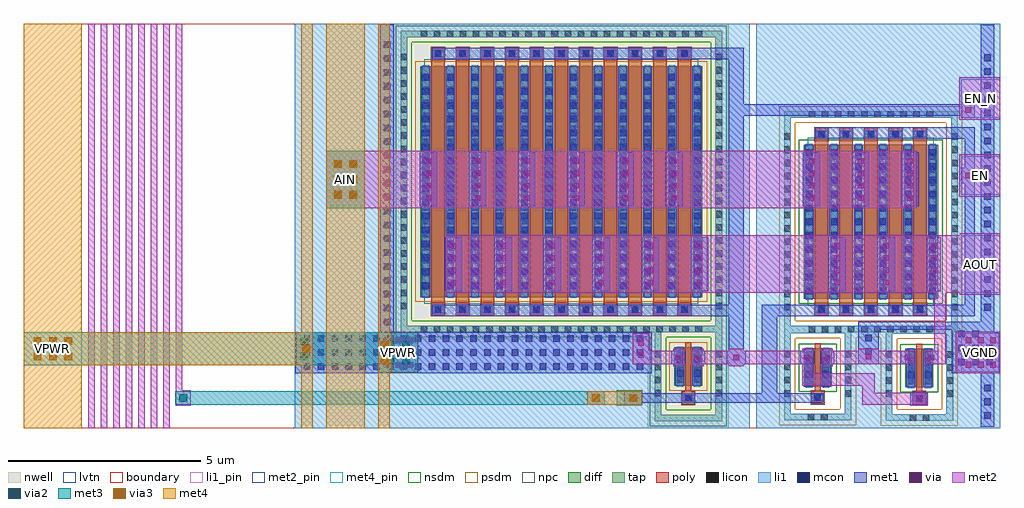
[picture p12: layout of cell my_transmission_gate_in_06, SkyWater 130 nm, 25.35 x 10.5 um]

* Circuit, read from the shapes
.subckt my_transmission_gate_in_06 AIN AOUT EN EN_N VGND VPWR
XM1 VGND EN EN_N VGND sky130_fd_pr__nfet_01v8 w=1 l=0.15
XM2 AOUT EN AIN VGND sky130_fd_pr__nfet_01v8_lvt w=4 l=0.35 m=5
XM3 AOUT EN_N VGND VGND sky130_fd_pr__nfet_01v8 w=1 l=0.15
XM4 AOUT EN_N AIN VPWR sky130_fd_pr__pfet_01v8_lvt w=6 l=0.35 m=11
XM5 EN_N EN VPWR VPWR sky130_fd_pr__pfet_01v8 w=1 l=0.15
.ends

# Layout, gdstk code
import gdstk
lib = gdstk.Library(unit=1e-6, precision=1e-09)
def R(c, l, rs):  # rectangles x0, y0, x1, y1
    for r in rs: c.add(gdstk.rectangle(r[:2], r[2:], *l))
def A(c, l, x, y, w, h, nx, ny, dx, dy):  # array of equal rectangles
    R(c, l, [(x+i*dx, y+j*dy, x+i*dx+w, y+j*dy+h) for i in range(nx) for j in range(ny)])
nwell = (64, 20)
diff = (65, 20)
tap = (65, 44)
poly = (66, 20)
licon = (66, 44)
li1_pin = (67, 16)
li1 = (67, 20)
mcon = (67, 44)
met1 = (68, 20)
via = (68, 44)
met2_pin = (69, 16)
met2 = (69, 20)
via2 = (69, 44)
met3 = (70, 20)
via3 = (70, 44)
met4_pin = (71, 16)
met4 = (71, 20)
nsdm = (93, 44)
psdm = (94, 20)
npc = (95, 20)
lvtn = (125, 44)
boundary = (235, 4)

sky130_fd_pr__pfet_01v8_ = lib.new_cell('sky130_fd_pr__pfet_01v8_lvt_E3P74E#06tgi')
R(sky130_fd_pr__pfet_01v8_, nwell, [(-4.355,-4.095,4.355,4.095)])
R(sky130_fd_pr__pfet_01v8_, diff, [(-3.665,-3,3.665,3)])
R(sky130_fd_pr__pfet_01v8_, tap, [(-4.175,-3.915,4.175,-3.745), (-4.175,-3.745,-4.005,3.745), (4.005,-3.745,4.175,3.745), (-4.175,3.745,4.175,3.915)])
A(sky130_fd_pr__pfet_01v8_, poly, -3.375, -3.485, 0.35, 6.97, 11, 1, 0.64, 0)
A(sky130_fd_pr__pfet_01v8_, licon, -3.655, -3.915, 0.17, 0.17, 22, 2, 0.34, 7.66)
A(sky130_fd_pr__pfet_01v8_, licon, -3.285, -3.405, 0.17, 0.17, 11, 2, 0.64, 6.64)
A(sky130_fd_pr__pfet_01v8_, licon, -4.175, -3.315, 0.17, 0.17, 1, 20, 0, 0.34)
A(sky130_fd_pr__pfet_01v8_, licon, 4.005, -3.315, 0.17, 0.17, 1, 20, 0, 0.34)
A(sky130_fd_pr__pfet_01v8_, licon, -3.605, -2.805, 0.17, 0.17, 12, 17, 0.64, 0.34)
A(sky130_fd_pr__pfet_01v8_, li1, -3.375, -3.405, 0.35, 0.17, 11, 2, 0.64, 6.64)
A(sky130_fd_pr__pfet_01v8_, li1, -3.605, -3.02, 0.17, 6.04, 12, 1, 0.64, 0)
R(sky130_fd_pr__pfet_01v8_, li1, [(-4.175,-3.915,4.175,-3.745), (-4.175,-3.745,-4.005,3.745), (4.005,-3.745,4.175,3.745), (-4.175,3.745,4.175,3.915)])
A(sky130_fd_pr__pfet_01v8_, mcon, -3.285, -3.405, 0.17, 0.17, 11, 2, 0.64, 6.64)
A(sky130_fd_pr__pfet_01v8_, mcon, -3.605, -2.785, 0.17, 0.17, 12, 16, 0.64, 0.36)
A(sky130_fd_pr__pfet_01v8_, met1, -3.355, -3.435, 0.31, 0.23, 11, 2, 0.64, 6.64)
A(sky130_fd_pr__pfet_01v8_, met1, -3.635, -3, 0.23, 6, 12, 1, 0.64, 0)
R(sky130_fd_pr__pfet_01v8_, nsdm, [(-4.3,-4.04,4.3,-3.62), (-4.3,-3.62,-3.88,3.62), (3.88,-3.62,4.3,3.62), (-4.3,3.62,4.3,4.04)])
R(sky130_fd_pr__pfet_01v8_, psdm, [(-3.79,-3.125,3.79,3.125)])
A(sky130_fd_pr__pfet_01v8_, npc, -3.385, -3.505, 0.37, 0.37, 11, 2, 0.64, 6.64)
R(sky130_fd_pr__pfet_01v8_, lvtn, [(-3.555,-3.18,3.555,3.18)])
R(sky130_fd_pr__pfet_01v8_, boundary, [(-4.09,-3.83,4.09,3.83)])

c_sky130_fd_pr__pfet_01v8_ = lib.new_cell('sky130_fd_pr__pfet_01v8_L75DJ9#06tgi')
R(c_sky130_fd_pr__pfet_01v8_, nwell, [(-1.055,-1.42,1.055,1.42)])
R(c_sky130_fd_pr__pfet_01v8_, diff, [(-0.365,-0.32,0.365,0.68)])
R(c_sky130_fd_pr__pfet_01v8_, tap, [(-0.875,-1.24,0.875,-1.07), (-0.875,-1.07,-0.705,1.07), (0.705,-1.07,0.875,1.07), (-0.875,1.07,0.875,1.24)])
R(c_sky130_fd_pr__pfet_01v8_, poly, [(-0.165,-0.805,0.165,-0.475), (-0.075,-0.475,0.075,0.81)])
A(c_sky130_fd_pr__pfet_01v8_, licon, -0.875, -0.595, 0.17, 0.17, 1, 4, 0, 0.34)
A(c_sky130_fd_pr__pfet_01v8_, licon, 0.705, -0.595, 0.17, 0.17, 1, 4, 0, 0.34)
A(c_sky130_fd_pr__pfet_01v8_, licon, -0.305, -0.245, 0.17, 0.17, 1, 3, 0, 0.34)
A(c_sky130_fd_pr__pfet_01v8_, licon, 0.135, -0.245, 0.17, 0.17, 1, 3, 0, 0.34)
R(c_sky130_fd_pr__pfet_01v8_, licon, [(-0.085,-0.725,0.085,-0.555)])
R(c_sky130_fd_pr__pfet_01v8_, li1, [(-0.875,-1.24,0.875,-1.07), (-0.875,-1.07,-0.705,1.07), (0.705,-1.07,0.875,1.07), (-0.165,-0.725,0.165,-0.555), (-0.305,-0.34,-0.135,0.7), (0.135,-0.34,0.305,0.7), (-0.875,1.07,0.875,1.24)])
R(c_sky130_fd_pr__pfet_01v8_, mcon, [(-0.085,-0.725,0.085,-0.555), (-0.305,-0.085,-0.135,0.085), (0.135,-0.085,0.305,0.085), (-0.305,0.275,-0.135,0.445), (0.135,0.275,0.305,0.445)])
R(c_sky130_fd_pr__pfet_01v8_, met1, [(-0.145,-0.755,0.145,-0.525), (-0.335,-0.32,-0.105,0.68), (0.105,-0.32,0.335,0.68)])
R(c_sky130_fd_pr__pfet_01v8_, nsdm, [(-1,-1.365,1,-0.945), (-1,-0.945,-0.58,0.945), (0.58,-0.945,1,0.945), (-1,0.945,1,1.365)])
R(c_sky130_fd_pr__pfet_01v8_, psdm, [(-0.49,-0.445,0.49,0.805)])
R(c_sky130_fd_pr__pfet_01v8_, npc, [(-0.185,-0.825,0.185,-0.455)])
R(c_sky130_fd_pr__pfet_01v8_, boundary, [(-0.79,-1.155,0.79,1.155)])

sky130_fd_pr__nfet_01v8_ = lib.new_cell('sky130_fd_pr__nfet_01v8_lvt_X62NDW#06tgi')
R(sky130_fd_pr__nfet_01v8_, diff, [(-1.745,-2,1.745,2)])
R(sky130_fd_pr__nfet_01v8_, tap, [(-2.255,-2.87,2.255,-2.7), (-2.255,-2.7,-2.085,2.7), (2.085,-2.7,2.255,2.7), (-2.255,2.7,2.255,2.87)])
A(sky130_fd_pr__nfet_01v8_, poly, -1.455, -2.44, 0.35, 4.88, 5, 1, 0.64, 0)
A(sky130_fd_pr__nfet_01v8_, licon, -1.615, -2.87, 0.17, 0.17, 10, 2, 0.34, 5.57)
A(sky130_fd_pr__nfet_01v8_, licon, -1.365, -2.36, 0.17, 0.17, 5, 2, 0.64, 4.55)
A(sky130_fd_pr__nfet_01v8_, licon, -2.255, -2.295, 0.17, 0.17, 1, 14, 0, 0.34)
A(sky130_fd_pr__nfet_01v8_, licon, 2.085, -2.295, 0.17, 0.17, 1, 14, 0, 0.34)
A(sky130_fd_pr__nfet_01v8_, licon, -1.685, -1.785, 0.17, 0.17, 6, 11, 0.64, 0.34)
A(sky130_fd_pr__nfet_01v8_, li1, -1.455, -2.36, 0.35, 0.17, 5, 2, 0.64, 4.55)
A(sky130_fd_pr__nfet_01v8_, li1, -1.685, -2.02, 0.17, 4.04, 6, 1, 0.64, 0)
R(sky130_fd_pr__nfet_01v8_, li1, [(-2.255,-2.87,2.255,-2.7), (-2.255,-2.7,-2.085,2.7), (2.085,-2.7,2.255,2.7), (-2.255,2.7,2.255,2.87)])
A(sky130_fd_pr__nfet_01v8_, mcon, -1.365, -2.36, 0.17, 0.17, 5, 2, 0.64, 4.55)
A(sky130_fd_pr__nfet_01v8_, mcon, -1.685, -1.885, 0.17, 0.17, 6, 11, 0.64, 0.36)
A(sky130_fd_pr__nfet_01v8_, met1, -1.435, -2.39, 0.31, 0.23, 5, 2, 0.64, 4.55)
A(sky130_fd_pr__nfet_01v8_, met1, -1.715, -2, 0.23, 4, 6, 1, 0.64, 0)
R(sky130_fd_pr__nfet_01v8_, nsdm, [(-1.87,-2.125,1.87,2.125)])
R(sky130_fd_pr__nfet_01v8_, psdm, [(-2.38,-2.995,2.38,-2.575), (-2.38,-2.575,-1.96,2.575), (1.96,-2.575,2.38,2.575), (-2.38,2.575,2.38,2.995)])
A(sky130_fd_pr__nfet_01v8_, npc, -1.465, -2.46, 0.37, 0.37, 5, 2, 0.64, 4.55)
R(sky130_fd_pr__nfet_01v8_, lvtn, [(-1.635,-2.18,1.635,2.18)])
R(sky130_fd_pr__nfet_01v8_, boundary, [(-2.17,-2.785,2.17,2.785)])

c_sky130_fd_pr__nfet_01v8_ = lib.new_cell('sky130_fd_pr__nfet_01v8_9BJ5NV#06tgi')
R(c_sky130_fd_pr__nfet_01v8_, diff, [(-0.365,-0.345,0.365,0.655)])
R(c_sky130_fd_pr__nfet_01v8_, tap, [(-0.875,-1.215,0.875,-1.045), (-0.875,-1.045,-0.705,1.045), (0.705,-1.045,0.875,1.045), (-0.875,1.045,0.875,1.215)])
R(c_sky130_fd_pr__nfet_01v8_, poly, [(-0.165,-0.785,0.165,-0.455), (-0.075,-0.455,0.075,0.785)])
A(c_sky130_fd_pr__nfet_01v8_, licon, -0.875, -0.595, 0.17, 0.17, 1, 4, 0, 0.34)
A(c_sky130_fd_pr__nfet_01v8_, licon, 0.705, -0.595, 0.17, 0.17, 1, 4, 0, 0.34)
A(c_sky130_fd_pr__nfet_01v8_, licon, -0.305, -0.27, 0.17, 0.17, 1, 3, 0, 0.34)
A(c_sky130_fd_pr__nfet_01v8_, licon, 0.135, -0.27, 0.17, 0.17, 1, 3, 0, 0.34)
R(c_sky130_fd_pr__nfet_01v8_, licon, [(-0.255,-1.215,-0.085,-1.045), (0.085,-1.215,0.255,-1.045), (-0.085,-0.705,0.085,-0.535)])
R(c_sky130_fd_pr__nfet_01v8_, li1, [(-0.875,-1.215,0.875,-1.045), (-0.875,-1.045,-0.705,1.045), (0.705,-1.045,0.875,1.045), (-0.165,-0.705,0.165,-0.535), (-0.305,-0.365,-0.135,0.675), (0.135,-0.365,0.305,0.675), (-0.875,1.045,0.875,1.215)])
R(c_sky130_fd_pr__nfet_01v8_, mcon, [(-0.085,-0.705,0.085,-0.535), (-0.305,-0.11,-0.135,0.06), (0.135,-0.11,0.305,0.06), (-0.305,0.25,-0.135,0.42), (0.135,0.25,0.305,0.42)])
R(c_sky130_fd_pr__nfet_01v8_, met1, [(-0.145,-0.735,0.145,-0.505), (-0.335,-0.345,-0.105,0.655), (0.105,-0.345,0.335,0.655)])
R(c_sky130_fd_pr__nfet_01v8_, nsdm, [(-0.49,-0.47,0.49,0.78)])
R(c_sky130_fd_pr__nfet_01v8_, psdm, [(-1,-1.34,1,-0.92), (-1,-0.92,-0.58,0.92), (0.58,-0.92,1,0.92), (-1,0.92,1,1.34)])
R(c_sky130_fd_pr__nfet_01v8_, npc, [(-0.185,-0.805,0.185,-0.435)])
R(c_sky130_fd_pr__nfet_01v8_, boundary, [(-0.79,-1.13,0.79,1.13)])

my_transmission_gate_in_ = lib.new_cell('my_transmission_gate_in_06')
R(my_transmission_gate_in_, li1_pin, [(9.225,1.46,10.225,2.46)])
R(my_transmission_gate_in_, li1, [(7.035,0,18.85,0.34), (19.025,0,25.35,0.26), (19.025,0.26,22.45,0.365), (24.09,0.26,25.35,8.06), (7.035,0.34,16.55,2.66), (17.975,0.34,18.85,10.165), (19.025,0.365,19.9,8.06), (21.325,0.365,22.45,2.665), (7.035,2.66,9.95,10.165), (10.6,2.66,16.55,2.665), (19.025,8.06,25.35,10.5), (7.035,10.165,18.85,10.5)])
A(my_transmission_gate_in_, mcon, 24.94, 0.24, 0.17, 0.17, 1, 3, 0, 0.36)
A(my_transmission_gate_in_, mcon, 7.27, 1.52, 0.17, 0.17, 25, 3, 0.36, 0.36)
A(my_transmission_gate_in_, mcon, 24.27, 1.635, 0.17, 0.17, 3, 2, 0.36, 0.36)
A(my_transmission_gate_in_, mcon, 9.34, 2.675, 0.17, 0.17, 1, 21, 0, 0.36)
A(my_transmission_gate_in_, mcon, 24.94, 3.055, 0.17, 0.17, 1, 19, 0, 0.36)
R(my_transmission_gate_in_, mcon, [(21.85,1.9,22.02,2.07), (21.85,2.26,22.02,2.43), (24.27,2.355,24.44,2.525), (24.63,2.355,24.8,2.525)])
A(my_transmission_gate_in_, met1, 20.28, 3.39, 0.23, 2.37, 3, 1, 1.28, 0)
A(my_transmission_gate_in_, met1, 20.92, 3.39, 0.23, 0.17, 3, 1, 1.28, 0)
A(my_transmission_gate_in_, met1, 10.32, 3.43, 0.23, 2.33, 6, 1, 1.28, 0)
A(my_transmission_gate_in_, met1, 10.96, 3.43, 0.23, 0.13, 6, 1, 1.28, 0)
A(my_transmission_gate_in_, met1, 12.215, 3.56, 0.46, 1.4, 5, 1, 1.275, 0)
A(my_transmission_gate_in_, met1, 10.96, 4.96, 0.23, 4.42, 6, 1, 1.28, 0)
A(my_transmission_gate_in_, met1, 20.92, 4.96, 0.23, 2.37, 3, 1, 1.28, 0)
A(my_transmission_gate_in_, met1, 10.275, 5.76, 0.46, 1.4, 6, 1, 1.275, 0)
A(my_transmission_gate_in_, met1, 20.225, 5.76, 0.46, 1.4, 3, 1, 1.275, 0)
A(my_transmission_gate_in_, met1, 10.32, 7.16, 0.23, 2.22, 6, 1, 1.28, 0)
A(my_transmission_gate_in_, met1, 20.28, 7.16, 0.23, 0.17, 3, 1, 1.28, 0)
R(my_transmission_gate_in_, met1, [(24.85,0.04,25.2,1.43), (23.025,0.595,23.475,0.915), (15.6,0.61,16.05,0.66), (15.6,0.66,20.735,0.91), (15.6,0.91,16.05,0.96), (19.16,0.91,19.56,2.91), (20.28,1.09,20.51,1.66), (20.72,1.09,20.95,1.66), (22.92,1.09,23.15,1.66), (23.36,1.09,23.59,1.66), (16.92,1.13,17.15,1.66), (17.36,1.13,17.59,1.66), (7.05,1.43,16.3,2.495), (24.1,1.43,25.335,2.495), (18.3,1.61,18.7,1.66), (16.815,1.66,17.175,2.01), (17.34,1.66,17.7,2.01), (18.25,1.66,18.75,2.01), (20.165,1.66,20.525,2.01), (20.69,1.66,21.05,2.01), (21.67,1.66,22.2,2.56), (22.775,1.66,23.15,2.01), (23.36,1.66,23.74,2.01), (16.92,2.01,17.15,2.07), (17.36,2.01,17.59,2.07), (18.3,2.01,18.7,2.91), (20.28,2.01,20.51,2.03), (20.72,2.01,20.95,2.03), (22.92,2.01,23.15,2.03), (23.36,2.01,23.59,2.03), (9.25,2.495,9.6,10.485), (24.1,2.495,25.2,2.56), (21.67,2.56,25.2,2.76), (24.85,2.76,25.2,10.48), (10.6,2.91,18.7,3.21), (19.16,2.91,24.7,3.21), (18.3,3.21,18.7,8.11), (24.43,3.21,24.7,6.36), (10.925,3.56,11.385,4.96), (20.89,3.56,21.35,4.96), (22.165,3.56,22.625,4.96), (23.45,3.56,23.81,4.96), (24.35,6.36,24.7,6.76), (24.43,6.76,24.7,7.51), (20.55,7.51,24.7,7.81), (24.35,8.06,24.7,8.11), (18.3,8.11,24.7,8.41), (18.3,8.41,18.7,9.585), (24.35,8.41,24.7,8.46), (10.6,9.585,18.7,9.885)])
A(my_transmission_gate_in_, via, 9.325, 1.565, 0.15, 0.15, 3, 3, 0.32, 0.32)
A(my_transmission_gate_in_, via, 24.455, 1.57, 0.15, 0.15, 3, 3, 0.32, 0.32)
A(my_transmission_gate_in_, via, 11.08, 3.705, 0.15, 0.15, 1, 4, 0, 0.32)
A(my_transmission_gate_in_, via, 12.37, 3.705, 0.15, 0.15, 5, 4, 1.275, 0.32)
A(my_transmission_gate_in_, via, 21.045, 3.705, 0.15, 0.15, 1, 4, 0, 0.32)
A(my_transmission_gate_in_, via, 22.32, 3.705, 0.15, 0.15, 1, 4, 0, 0.32)
A(my_transmission_gate_in_, via, 23.555, 3.705, 0.15, 0.15, 1, 4, 0, 0.32)
A(my_transmission_gate_in_, via, 10.43, 5.905, 0.15, 0.15, 6, 4, 1.275, 0.32)
A(my_transmission_gate_in_, via, 20.38, 5.905, 0.15, 0.15, 3, 4, 1.275, 0.32)
R(my_transmission_gate_in_, via, [(23.175,0.67,23.325,0.82), (15.75,0.71,15.9,0.86), (16.92,1.76,17.07,1.91), (17.445,1.76,17.595,1.91), (18.425,1.76,18.575,1.91), (20.27,1.76,20.42,1.91), (20.795,1.76,20.945,1.91), (22.875,1.76,23.025,1.91), (23.49,1.76,23.64,1.91), (21.86,1.785,22.01,1.935), (7.205,1.825,7.355,1.975), (15.95,1.825,16.1,1.975), (7.205,2.145,7.355,2.295), (15.95,2.145,16.1,2.295), (24.45,6.485,24.6,6.635), (24.45,8.185,24.6,8.335)])
R(my_transmission_gate_in_, met2_pin, [(24.35,1.46,25.35,2.46), (24.35,3.51,25.35,5.01), (7.85,5.71,8.85,7.21), (24.35,6.06,25.35,7.06), (24.35,8.06,25.35,9.06)])
A(my_transmission_gate_in_, met2, 1.67, 0, 0.165, 10.5, 7, 1, 0.325, 0)
R(my_transmission_gate_in_, met2, [(23.035,0.58,23.465,0.605), (3.945,0.585,4.325,0.985), (15.59,0.6,16.06,0.97), (21.775,0.605,23.465,0.925), (21.775,0.925,22.1,1.105), (23.075,0.925,23.425,0.95), (3.945,0.985,4.11,10.5), (20.215,1.105,22.1,1.425), (9.2,1.42,10.245,2.5), (24.2,1.42,25.35,2.5), (20.215,1.425,20.475,1.66), (16.865,1.61,17.125,1.66), (17.39,1.61,17.65,1.66), (18.3,1.61,18.7,1.66), (20.74,1.61,21,1.66), (7.065,1.635,7.5,2.485), (15.815,1.66,17.125,2.01), (17.35,1.66,20.5,2.01), (20.725,1.66,23.125,2.01), (23.39,1.66,23.94,2.01), (15.815,2.01,16.235,2.46), (16.865,2.01,17.125,2.06), (17.39,2.01,17.65,2.06), (18.3,2.01,18.7,2.06), (20.215,2.01,20.475,2.06), (20.74,2.01,21,2.06), (21.67,2.01,22.2,2.06), (23.64,2.01,23.94,3.51), (24.3,3.46,25.35,3.51), (10.95,3.51,25.35,5.01), (24.3,5.01,25.35,5.06), (7.85,5.71,23.185,7.21), (24.295,6.01,25.345,6.06), (24.295,6.06,25.35,7.06), (24.295,7.06,25.345,7.11), (24.295,8.01,25.345,8.06), (24.295,8.06,25.35,9.06), (24.295,9.06,25.345,9.11)])
A(my_transmission_gate_in_, via2, 8.05, 5.96, 0.2, 0.2, 1, 3, 0, 0.4)
A(my_transmission_gate_in_, via2, 8.45, 5.96, 0.2, 0.2, 1, 3, 0, 0.4)
R(my_transmission_gate_in_, via2, [(4.035,0.685,4.235,0.885), (15.725,0.685,15.925,0.885), (9.42,1.66,9.62,1.86), (9.82,1.66,10.02,1.86), (7.18,1.76,7.38,1.96), (9.42,2.06,9.62,2.26), (9.82,2.06,10.02,2.26), (7.18,2.16,7.38,2.36)])
R(my_transmission_gate_in_, met3, [(15.4,0.59,16.055,0.98), (3.925,0.61,15.085,0.96), (9.2,1.435,10.24,1.635), (0,1.635,10.24,2.485), (7.85,5.71,8.85,7.21)])
A(my_transmission_gate_in_, via3, 0.25, 1.76, 0.2, 0.2, 3, 2, 0.4, 0.4)
A(my_transmission_gate_in_, via3, 8.05, 5.96, 0.2, 0.2, 1, 3, 0, 0.4)
A(my_transmission_gate_in_, via3, 8.45, 5.96, 0.2, 0.2, 1, 3, 0, 0.4)
R(my_transmission_gate_in_, via3, [(14.75,0.685,14.95,0.885), (15.725,0.685,15.925,0.885), (9.27,1.66,9.47,1.86), (7.23,1.96,7.43,2.16), (9.27,2.06,9.47,2.26)])
R(my_transmission_gate_in_, met4_pin, [(0,1.635,1.5,2.485)])
R(my_transmission_gate_in_, met4, [(0,0,1.5,1.635), (7.2,0,7.5,1.635), (7.85,0,8.85,10.5), (9.2,0,9.5,1.46), (14.635,0.61,16.04,0.96), (9.195,1.46,9.55,2.46), (0,1.635,7.5,2.485), (9.2,2.46,9.5,10.5), (0,2.485,1.5,10.5), (7.2,2.485,7.5,10.5)])
R(my_transmission_gate_in_, boundary, [(0,0,25.35,10.5)])
my_transmission_gate_in_.add(gdstk.Reference(sky130_fd_pr__pfet_01v8_, (13.955,6.405)))
my_transmission_gate_in_.add(gdstk.Reference(c_sky130_fd_pr__pfet_01v8_, (17.255,1.42)))
my_transmission_gate_in_.add(gdstk.Reference(sky130_fd_pr__nfet_01v8_, (21.995,5.36)))
my_transmission_gate_in_.add(gdstk.Reference(c_sky130_fd_pr__nfet_01v8_, (23.255,1.405)))
my_transmission_gate_in_.add(gdstk.Reference(c_sky130_fd_pr__nfet_01v8_, (20.615,1.415)))
my_transmission_gate_in_.add(gdstk.Label('VGND', (24.85,1.96), layer=69, texttype=5))
my_transmission_gate_in_.add(gdstk.Label('VPWR', (0.75,2.06), layer=71, texttype=5))
my_transmission_gate_in_.add(gdstk.Label('VPWR', (9.725,1.96), layer=67, texttype=5))
my_transmission_gate_in_.add(gdstk.Label('AOUT', (24.85,4.26), layer=69, texttype=5))
my_transmission_gate_in_.add(gdstk.Label('AIN', (8.35,6.46), layer=69, texttype=5))
my_transmission_gate_in_.add(gdstk.Label('EN', (24.85,6.56), layer=69, texttype=5))
my_transmission_gate_in_.add(gdstk.Label('EN_N', (24.85,8.56), layer=69, texttype=5))

lib.write_gds('my_transmission_gate_in_06.gds')
